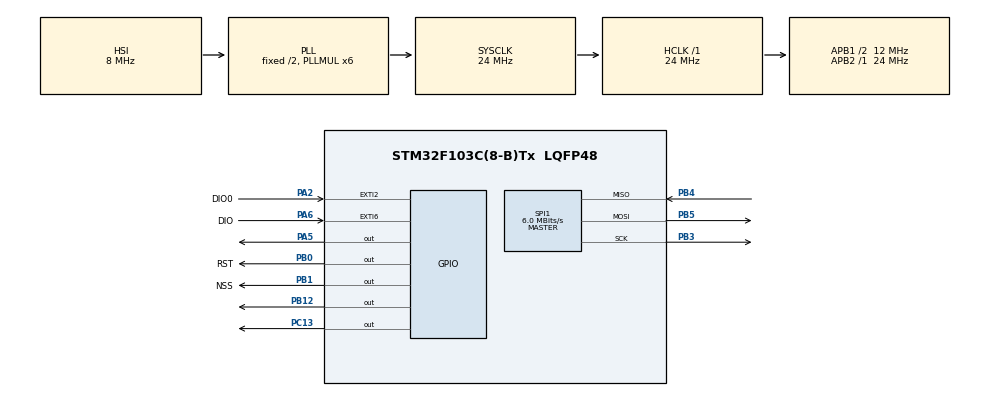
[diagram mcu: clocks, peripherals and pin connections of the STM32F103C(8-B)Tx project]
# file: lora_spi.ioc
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Mcu.Family=STM32F1
Mcu.Name=STM32F103C(8-B)Tx
Mcu.Package=LQFP48
NVIC.EXTI2_IRQn=true\:0\:0\:false\:false\:true\:true\:true\:true
NVIC.EXTI9_5_IRQn=true\:0\:0\:false\:false\:true\:true\:true\:true
NVIC.PriorityGroup=NVIC_PRIORITYGROUP_4
PA13.Mode=Serial_Wire
PA13.Signal=SYS_JTMS-SWDIO
PA14.Mode=Serial_Wire
PA14.Signal=SYS_JTCK-SWCLK
PA2.GPIO_Label=DIO0
PA2.GPIO_PuPd=GPIO_PULLDOWN
PA2.Signal=GPXTI2
PA5.Signal=GPIO_Output
PA6.GPIO_Label=DIO
PA6.GPIO_ModeDefaultEXTI=GPIO_MODE_IT_RISING_FALLING
PA6.GPIO_PuPd=GPIO_NOPULL
PA6.Signal=GPXTI6
PB0.GPIO_Label=RST
PB0.PinState=GPIO_PIN_SET
PB0.Signal=GPIO_Output
PB1.GPIO_Label=NSS
PB1.PinState=GPIO_PIN_SET
PB1.Signal=GPIO_Output
PB12.Signal=GPIO_Output
PB3.Mode=Full_Duplex_Master
PB3.Signal=SPI1_SCK
PB4.Mode=Full_Duplex_Master
PB4.Signal=SPI1_MISO
PB5.Mode=Full_Duplex_Master
PB5.Signal=SPI1_MOSI
PC13-TAMPER-RTC.Signal=GPIO_Output
ProjectManager.HeapSize=0x200
ProjectManager.StackSize=0x400
ProjectManager.TargetToolchain=STM32CubeIDE
RCC.AHBFreq_Value=24000000
RCC.APB1CLKDivider=RCC_HCLK_DIV2
RCC.APB1Freq_Value=12000000
RCC.APB1TimFreq_Value=24000000
RCC.APB2Freq_Value=24000000
RCC.APB2TimFreq_Value=24000000
RCC.HCLKFreq_Value=24000000
RCC.PLLMUL=RCC_PLL_MUL6
RCC.SYSCLKFreq_VALUE=24000000
RCC.SYSCLKSource=RCC_SYSCLKSOURCE_PLLCLK
RCC.USBFreq_Value=24000000
SPI1.BaudRatePrescaler=SPI_BAUDRATEPRESCALER_4
SPI1.CalculateBaudRate=6.0 MBits/s
SPI1.Direction=SPI_DIRECTION_2LINES
SPI1.Mode=SPI_MODE_MASTER
SPI1.VirtualType=VM_MASTER
board=custom

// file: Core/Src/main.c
/* USER CODE BEGIN Header */
/**
  ******************************************************************************
  * @file           : main.c
  * @brief          : Main program body
  ******************************************************************************
  * @attention
  *
  * Copyright (c) 2023 STMicroelectronics.
  * All rights reserved.
  *
  * This software is licensed under terms that can be found in the LICENSE file
  * in the root directory of this software component.
  * If no LICENSE file comes with this software, it is provided AS-IS.
  *
  ******************************************************************************
  */
/* USER CODE END Header */
#include "main.h"

/* USER CODE BEGIN Includes */
#include "LoRa.h"
#include "string.h"
/* USER CODE END Includes */

SPI_HandleTypeDef hspi1;

/* USER CODE BEGIN PV */
LoRa my_lora;
uint8_t lora_state = 0;
/* USER CODE END PV */

void SystemClock_Config(void);
static void MX_GPIO_Init(void);
static void MX_SPI1_Init(void);

/* USER CODE BEGIN 0 */
uint8_t read_data[20];
uint8_t rx_count;
uint8_t *send_data;
uint8_t count =0;
int16_t vel, pos;
uint8_t *rx_buff, rx_index = 0;

bool rx = false;
int			RSSI;

////Handle recieve data;
void handle_rx_data(uint8_t* receive_data, uint8_t count);

void HAL_GPIO_EXTI_Callback(uint16_t GPIO_Pin)
{
  /* Prevent unused argument(s) compilation warning */
  UNUSED(GPIO_Pin);
  /* NOTE: This function Should not be modified, when the callback is needed,
           the HAL_GPIO_EXTI_Callback could be implemented in the user file
   */
//  if(GPIO_Pin == DIO0_Pin)
//  {
//	  /// Check RxDone
////	  if((LoRa_read(&my_lora, RegIrqFlags)&0x40)!= 0){
////
////
////
////	  }
//	  HAL_GPIO_TogglePin(GPIOC, GPIO_PIN_13);
//	  HAL_GPIO_TogglePin(GPIOB, GPIO_PIN_12);
//  }

  if(GPIO_Pin == DIO_Pin)
    {
  	  /// Check RxDone
  //	  if((LoRa_read(&my_lora, RegIrqFlags)&0x40)!= 0){
  //
  //
  //
  //	  }
  	  HAL_GPIO_TogglePin(GPIOC, GPIO_PIN_13);
  	  HAL_GPIO_TogglePin(GPIOB, GPIO_PIN_12);
    }

}

void handle_rx_data(uint8_t* receive_data, uint8_t count){

	if(!count)
		return;

	rx_buff = (uint8_t*)malloc(sizeof(uint8_t));
	for(int i =0 ; i< count; i++){

		switch(receive_data[i]){

		case (uint8_t)'r':
			////
			break;

		case (uint8_t)'s':
			////
			break;

		case (uint8_t)'v':
			////
			vel = atoi((const char*)rx_buff);
			//memset(rx_buff,0,sizeof(rx_buff));
			rx_index = 0;
			//free(receive_data);
			break;

		case (uint8_t)'p':
			pos = atoi((const char*)rx_buff);
			//memset(rx_buff,0,sizeof(rx_buff));
			rx_index =0;

			break;

		case '0':
		case '1':
		case '2':
		case '3':
		case '4':
		case '5':
		case '6':
		case '7':
		case '8':
		case '9':
			rx_buff = (uint8_t*)realloc(rx_buff,(rx_index+2)*sizeof(uint8_t));
			rx_buff[rx_index++] |= receive_data[i];
			break;

		}

	}
	free(rx_buff);

}

/* USER CODE END 0 */

int main(void)
{

  /* MCU Configuration--------------------------------------------------------*/

  /* Reset of all peripherals, Initializes the Flash interface and the Systick. */
  HAL_Init();

  /* Configure the system clock */
  SystemClock_Config();

  /* Initialize all configured peripherals */
  MX_GPIO_Init();
  MX_SPI1_Init();
  /* USER CODE BEGIN 2 */
  my_lora = newLoRa();
  my_lora.CS_port		= NSS_GPIO_Port	;		my_lora.reset_port	= RST_GPIO_Port	;
  my_lora.CS_pin		= NSS_Pin		;		my_lora.reset_pin	= RST_Pin		;

  my_lora.DIO0_port	= DIO_GPIO_Port;
  my_lora.reset_pin	= DIO_Pin		;		my_lora.hSPIx		= &hspi1			;

  my_lora.frequency             = 434;             // default = 433 MHz
  my_lora.spredingFactor        = SF_9;            // default = SF_7
  my_lora.bandWidth             = BW_250KHz;       // default = BW_125KHz
  my_lora.crcRate               = CR_4_8;          // default = CR_4_5
  my_lora.power                 = POWER_17db;      // default = 20db
  my_lora.overCurrentProtection = 120;             // default = 100 mA
  my_lora.preamble              = 10;              // default = 8;

  //LoRa_reset(&my_lora);
  if(LoRa_init(&my_lora)==LORA_OK)
	  {
	  	  lora_state = 1;
	  	  HAL_GPIO_TogglePin(GPIOC, GPIO_PIN_13);
	  	  HAL_GPIO_TogglePin(GPIOB, GPIO_PIN_12);
	  	  HAL_Delay(500);
	  };
  if(LoRa_init(&my_lora)==LORA_NOT_FOUND)
  	  {
  	  	  lora_state = 2;
//  	  	  HAL_GPIO_TogglePin(GPIOC, GPIO_PIN_13);
//  	  	  HAL_Delay(500);
  	  };
  if(LoRa_init(&my_lora)==LORA_UNAVAILABLE)
  	  {
  	  	  lora_state = 3;
//  	  	  HAL_GPIO_TogglePin(GPIOC, GPIO_PIN_13);
//  	  	  HAL_Delay(500);
  	  };
  ////
  HAL_GPIO_WritePin(GPIOB, GPIO_PIN_12, GPIO_PIN_SET);

  LoRa_startReceiving(&my_lora);
  //send_data[0] = 0X30;   /// slave address

  /* USER CODE END 2 */

  /* Infinite loop */
  while (1)
  {

    /* USER CODE BEGIN 3 */
	  ///-------------Transmit---------------///
//	  send_data = (uint8_t *)malloc(9*sizeof(uint8_t));
//	  if(send_data == NULL)
//		  return 0;
//	  //send_data = (uint8_t*)malloc(10*sizeof(uint8_t));
//	  send_data[0] = 0x30;
//	  for(count =1;count<4;count++){
//
//	  	send_data[count] =  48+count;
//	  }
//	  //send_data[1] = 100;
//	  //send_data[2] = (uint8_t)('v');
//	  //send_data[3] = 100;
//	  send_data[4] = 'v' ;
//
//	  for(count =5;count<8;count++){
//
//	  	  	send_data[count] =  48+count;
//	  	  }
//	  send_data[8] = 'p';
//	  if(LoRa_transmit(&my_lora, send_data, 9, 500))
//	  {
////		  HAL_GPIO_TogglePin(GPIOC, GPIO_PIN_13);
////	  	  HAL_GPIO_TogglePin(GPIOB, GPIO_PIN_12);
//	  }
//
//	  free(send_data);

	  ///------------Recieve----------------///
	  //read_data =(uint8_t*)malloc(2*sizeof(uint8_t));
	  rx_count = LoRa_receive(&my_lora, read_data, 128);

	  handle_rx_data(read_data, rx_count);

	  //HAL_GPIO_TogglePin(GPIOC, GPIO_PIN_13);
	  //HAL_GPIO_TogglePin(GPIOB, GPIO_PIN_12);
	  //// free read_data after handling receive data ///
	  //free(read_data);

	  HAL_Delay(1000);

  }
  /* USER CODE END 3 */
}

void SystemClock_Config(void)
{
  RCC_OscInitTypeDef RCC_OscInitStruct = {0};
  RCC_ClkInitTypeDef RCC_ClkInitStruct = {0};

  /** Initializes the RCC Oscillators according to the specified parameters
  * in the RCC_OscInitTypeDef structure.
  */
  RCC_OscInitStruct.OscillatorType = RCC_OSCILLATORTYPE_HSI;
  RCC_OscInitStruct.HSIState = RCC_HSI_ON;
  RCC_OscInitStruct.HSICalibrationValue = RCC_HSICALIBRATION_DEFAULT;
  RCC_OscInitStruct.PLL.PLLState = RCC_PLL_ON;
  RCC_OscInitStruct.PLL.PLLSource = RCC_PLLSOURCE_HSI_DIV2;
  RCC_OscInitStruct.PLL.PLLMUL = RCC_PLL_MUL6;
  if (HAL_RCC_OscConfig(&RCC_OscInitStruct) != HAL_OK)
  {
    Error_Handler();
  }

  /** Initializes the CPU, AHB and APB buses clocks
  */
  RCC_ClkInitStruct.ClockType = RCC_CLOCKTYPE_HCLK|RCC_CLOCKTYPE_SYSCLK
                              |RCC_CLOCKTYPE_PCLK1|RCC_CLOCKTYPE_PCLK2;
  RCC_ClkInitStruct.SYSCLKSource = RCC_SYSCLKSOURCE_PLLCLK;
  RCC_ClkInitStruct.AHBCLKDivider = RCC_SYSCLK_DIV1;
  RCC_ClkInitStruct.APB1CLKDivider = RCC_HCLK_DIV2;
  RCC_ClkInitStruct.APB2CLKDivider = RCC_HCLK_DIV1;

  if (HAL_RCC_ClockConfig(&RCC_ClkInitStruct, FLASH_LATENCY_0) != HAL_OK)
  {
    Error_Handler();
  }
}

static void MX_SPI1_Init(void)
{

  /* SPI1 parameter configuration*/
  hspi1.Instance = SPI1;
  hspi1.Init.Mode = SPI_MODE_MASTER;
  hspi1.Init.Direction = SPI_DIRECTION_2LINES;
  hspi1.Init.DataSize = SPI_DATASIZE_8BIT;
  hspi1.Init.CLKPolarity = SPI_POLARITY_LOW;
  hspi1.Init.CLKPhase = SPI_PHASE_1EDGE;
  hspi1.Init.NSS = SPI_NSS_SOFT;
  hspi1.Init.BaudRatePrescaler = SPI_BAUDRATEPRESCALER_4;
  hspi1.Init.FirstBit = SPI_FIRSTBIT_MSB;
  hspi1.Init.TIMode = SPI_TIMODE_DISABLE;
  hspi1.Init.CRCCalculation = SPI_CRCCALCULATION_DISABLE;
  hspi1.Init.CRCPolynomial = 10;
  if (HAL_SPI_Init(&hspi1) != HAL_OK)
  {
    Error_Handler();
  }

}

static void MX_GPIO_Init(void)
{
  GPIO_InitTypeDef GPIO_InitStruct = {0};

  /* GPIO Ports Clock Enable */
  __HAL_RCC_GPIOC_CLK_ENABLE();
  __HAL_RCC_GPIOA_CLK_ENABLE();
  __HAL_RCC_GPIOB_CLK_ENABLE();

  /*Configure GPIO pin Output Level */
  HAL_GPIO_WritePin(GPIOC, GPIO_PIN_13, GPIO_PIN_RESET);

  /*Configure GPIO pin Output Level */
  HAL_GPIO_WritePin(GPIOA, GPIO_PIN_5, GPIO_PIN_RESET);

  /*Configure GPIO pin Output Level */
  HAL_GPIO_WritePin(GPIOB, RST_Pin|NSS_Pin, GPIO_PIN_SET);

  /*Configure GPIO pin Output Level */
  HAL_GPIO_WritePin(GPIOB, GPIO_PIN_12, GPIO_PIN_RESET);

  /*Configure GPIO pin : PC13 */
  GPIO_InitStruct.Pin = GPIO_PIN_13;
  GPIO_InitStruct.Mode = GPIO_MODE_OUTPUT_PP;
  GPIO_InitStruct.Pull = GPIO_NOPULL;
  GPIO_InitStruct.Speed = GPIO_SPEED_FREQ_LOW;
  HAL_GPIO_Init(GPIOC, &GPIO_InitStruct);

  /*Configure GPIO pin : DIO0_Pin */
  GPIO_InitStruct.Pin = DIO0_Pin;
  GPIO_InitStruct.Mode = GPIO_MODE_IT_RISING;
  GPIO_InitStruct.Pull = GPIO_PULLDOWN;
  HAL_GPIO_Init(DIO0_GPIO_Port, &GPIO_InitStruct);

  /*Configure GPIO pin : PA5 */
  GPIO_InitStruct.Pin = GPIO_PIN_5;
  GPIO_InitStruct.Mode = GPIO_MODE_OUTPUT_PP;
  GPIO_InitStruct.Pull = GPIO_NOPULL;
  GPIO_InitStruct.Speed = GPIO_SPEED_FREQ_LOW;
  HAL_GPIO_Init(GPIOA, &GPIO_InitStruct);

  /*Configure GPIO pin : DIO_Pin */
  GPIO_InitStruct.Pin = DIO_Pin;
  GPIO_InitStruct.Mode = GPIO_MODE_IT_RISING_FALLING;
  GPIO_InitStruct.Pull = GPIO_NOPULL;
  HAL_GPIO_Init(DIO_GPIO_Port, &GPIO_InitStruct);

  /*Configure GPIO pins : RST_Pin NSS_Pin PB12 */
  GPIO_InitStruct.Pin = RST_Pin|NSS_Pin|GPIO_PIN_12;
  GPIO_InitStruct.Mode = GPIO_MODE_OUTPUT_PP;
  GPIO_InitStruct.Pull = GPIO_NOPULL;
  GPIO_InitStruct.Speed = GPIO_SPEED_FREQ_LOW;
  HAL_GPIO_Init(GPIOB, &GPIO_InitStruct);

  /* EXTI interrupt init*/
  HAL_NVIC_SetPriority(EXTI2_IRQn, 0, 0);
  HAL_NVIC_EnableIRQ(EXTI2_IRQn);

  HAL_NVIC_SetPriority(EXTI9_5_IRQn, 0, 0);
  HAL_NVIC_EnableIRQ(EXTI9_5_IRQn);

}

void Error_Handler(void)
{
  __disable_irq();
  while (1)
  {
  }
}
